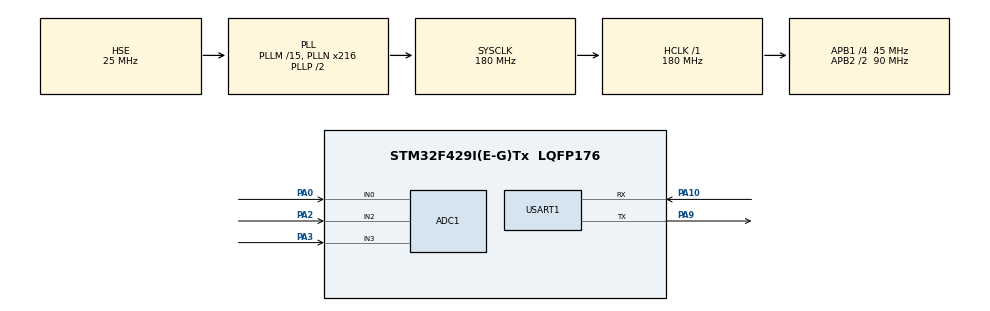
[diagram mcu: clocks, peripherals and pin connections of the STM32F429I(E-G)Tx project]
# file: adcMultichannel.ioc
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ADC1.Channel-0\#ChannelRegularConversion=ADC_CHANNEL_0
ADC1.Channel-4\#ChannelRegularConversion=ADC_CHANNEL_2
ADC1.Channel-6\#ChannelRegularConversion=ADC_CHANNEL_3
ADC1.ContinuousConvMode=ENABLE
ADC1.DMAContinuousRequests=ENABLE
ADC1.InjNumberOfConversion=0
ADC1.NbrOfConversion=3
ADC1.NbrOfConversionFlag=1
ADC1.Rank-0\#ChannelRegularConversion=1
ADC1.Rank-4\#ChannelRegularConversion=2
ADC1.Rank-6\#ChannelRegularConversion=3
ADC1.SamplingTime-0\#ChannelRegularConversion=ADC_SAMPLETIME_84CYCLES
ADC1.SamplingTime-4\#ChannelRegularConversion=ADC_SAMPLETIME_84CYCLES
ADC1.SamplingTime-6\#ChannelRegularConversion=ADC_SAMPLETIME_84CYCLES
ADC1.ScanConvMode=ENABLE
ADC1.master=1
Dma.ADC1.0.Direction=DMA_PERIPH_TO_MEMORY
Dma.ADC1.0.FIFOMode=DMA_FIFOMODE_DISABLE
Dma.ADC1.0.Instance=DMA2_Stream0
Dma.ADC1.0.MemDataAlignment=DMA_MDATAALIGN_HALFWORD
Dma.ADC1.0.MemInc=DMA_MINC_ENABLE
Dma.ADC1.0.Mode=DMA_CIRCULAR
Dma.ADC1.0.PeriphDataAlignment=DMA_PDATAALIGN_HALFWORD
Dma.ADC1.0.PeriphInc=DMA_PINC_DISABLE
Dma.ADC1.0.Priority=DMA_PRIORITY_LOW
Dma.Request0=ADC1
Mcu.Family=STM32F4
Mcu.Name=STM32F429I(E-G)Tx
Mcu.Package=LQFP176
NVIC.DMA2_Stream0_IRQn=true\:0\:0\:false\:false\:true\:false\:true\:true
NVIC.PriorityGroup=NVIC_PRIORITYGROUP_4
PA0/WKUP.Signal=ADCx_IN0
PA10.Mode=Asynchronous
PA10.Signal=USART1_RX
PA13.Mode=Serial_Wire
PA13.Signal=SYS_JTMS-SWDIO
PA14.Mode=Serial_Wire
PA14.Signal=SYS_JTCK-SWCLK
PA2.Signal=ADCx_IN2
PA3.Signal=ADCx_IN3
PA9.Mode=Asynchronous
PA9.Signal=USART1_TX
PH0/OSC_IN.Mode=HSE-External-Oscillator
PH0/OSC_IN.Signal=RCC_OSC_IN
PH1/OSC_OUT.Mode=HSE-External-Oscillator
PH1/OSC_OUT.Signal=RCC_OSC_OUT
ProjectManager.HeapSize=0x200
ProjectManager.StackSize=0x400
ProjectManager.TargetToolchain=MDK-ARM V5
RCC.48MHZClocksFreq_Value=90000000
RCC.AHBFreq_Value=180000000
RCC.APB1CLKDivider=RCC_HCLK_DIV4
RCC.APB1Freq_Value=45000000
RCC.APB1TimFreq_Value=90000000
RCC.APB2CLKDivider=RCC_HCLK_DIV2
RCC.APB2Freq_Value=90000000
RCC.APB2TimFreq_Value=180000000
RCC.CortexFreq_Value=180000000
RCC.HCLKFreq_Value=180000000
RCC.HSE_VALUE=25000000
RCC.HSI_VALUE=16000000
RCC.LSE_VALUE=32768
RCC.PLLM=15
RCC.PLLN=216
RCC.PLLSourceVirtual=RCC_PLLSOURCE_HSE
RCC.SYSCLKFreq_VALUE=180000000
RCC.SYSCLKSource=RCC_SYSCLKSOURCE_PLLCLK
RCC.VCOOutputFreq_Value=360000000
SH.ADCx_IN0.0=ADC1_IN0,IN0
SH.ADCx_IN2.0=ADC1_IN2,IN2
SH.ADCx_IN3.0=ADC1_IN3,IN3
USART1.VirtualMode=VM_ASYNC
board=custom

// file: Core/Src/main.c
/* USER CODE BEGIN Header */
/**
  ******************************************************************************
  * @file           : main.c
  * @brief          : Main program body
  ******************************************************************************
  * @attention
  *
  * Copyright (c) 2025 STMicroelectronics.
  * All rights reserved.
  *
  * This software is licensed under terms that can be found in the LICENSE file
  * in the root directory of this software component.
  * If no LICENSE file comes with this software, it is provided AS-IS.
  *
  ******************************************************************************
  */
/* USER CODE END Header */
#include "main.h"
#include "adc.h"
#include "dma.h"
#include "usart.h"
#include "gpio.h"

/* USER CODE BEGIN Includes */
#include "adc_multichannel.h"
#include <stdio.h>
/* USER CODE END Includes */

void SystemClock_Config(void);

/* USER CODE BEGIN 0 */
int fputc(int ch, FILE *f)
{
    HAL_UART_Transmit(&huart1, (uint8_t *)&ch, 1, 10);
    return ch;
}
/* USER CODE END 0 */

int main(void)
{

  /* MCU Configuration--------------------------------------------------------*/

  /* Reset of all peripherals, Initializes the Flash interface and the Systick. */
  HAL_Init();

  /* Configure the system clock */
  SystemClock_Config();

  /* Initialize all configured peripherals */
  MX_GPIO_Init();
  MX_DMA_Init();
  MX_ADC1_Init();
  MX_USART1_UART_Init();
  /* USER CODE BEGIN 2 */
	ADC_Multi_Init(&hadc1);
	ADC_Multi_Start();
  /* USER CODE END 2 */

  /* Infinite loop */
  while (1)
  {

    /* USER CODE BEGIN 3 */
		if (ADC_Multi_IsDataReady()) {
				ADC_MultiResult_t result;
				ADC_Multi_GetResult(&result);

				printf("CH0: %4d (%.3fV) | CH2: %4d (%.3fV) | CH3: %4d (%.3fV)\r\n",
							 result.ch[0].raw, result.ch[0].voltage,
							 result.ch[1].raw, result.ch[1].voltage,
							 result.ch[2].raw, result.ch[2].voltage);
		}

		HAL_Delay(500);
  }
  /* USER CODE END 3 */
}

void SystemClock_Config(void)
{
  RCC_OscInitTypeDef RCC_OscInitStruct = {0};
  RCC_ClkInitTypeDef RCC_ClkInitStruct = {0};

  /** Configure the main internal regulator output voltage
  */
  __HAL_RCC_PWR_CLK_ENABLE();
  __HAL_PWR_VOLTAGESCALING_CONFIG(PWR_REGULATOR_VOLTAGE_SCALE1);

  /** Initializes the RCC Oscillators according to the specified parameters
  * in the RCC_OscInitTypeDef structure.
  */
  RCC_OscInitStruct.OscillatorType = RCC_OSCILLATORTYPE_HSE;
  RCC_OscInitStruct.HSEState = RCC_HSE_ON;
  RCC_OscInitStruct.PLL.PLLState = RCC_PLL_ON;
  RCC_OscInitStruct.PLL.PLLSource = RCC_PLLSOURCE_HSE;
  RCC_OscInitStruct.PLL.PLLM = 15;
  RCC_OscInitStruct.PLL.PLLN = 216;
  RCC_OscInitStruct.PLL.PLLP = RCC_PLLP_DIV2;
  RCC_OscInitStruct.PLL.PLLQ = 4;
  if (HAL_RCC_OscConfig(&RCC_OscInitStruct) != HAL_OK)
  {
    Error_Handler();
  }

  /** Activate the Over-Drive mode
  */
  if (HAL_PWREx_EnableOverDrive() != HAL_OK)
  {
    Error_Handler();
  }

  /** Initializes the CPU, AHB and APB buses clocks
  */
  RCC_ClkInitStruct.ClockType = RCC_CLOCKTYPE_HCLK|RCC_CLOCKTYPE_SYSCLK
                              |RCC_CLOCKTYPE_PCLK1|RCC_CLOCKTYPE_PCLK2;
  RCC_ClkInitStruct.SYSCLKSource = RCC_SYSCLKSOURCE_PLLCLK;
  RCC_ClkInitStruct.AHBCLKDivider = RCC_SYSCLK_DIV1;
  RCC_ClkInitStruct.APB1CLKDivider = RCC_HCLK_DIV4;
  RCC_ClkInitStruct.APB2CLKDivider = RCC_HCLK_DIV2;

  if (HAL_RCC_ClockConfig(&RCC_ClkInitStruct, FLASH_LATENCY_5) != HAL_OK)
  {
    Error_Handler();
  }
}

void Error_Handler(void)
{
  __disable_irq();
  while (1)
  {
  }
}
